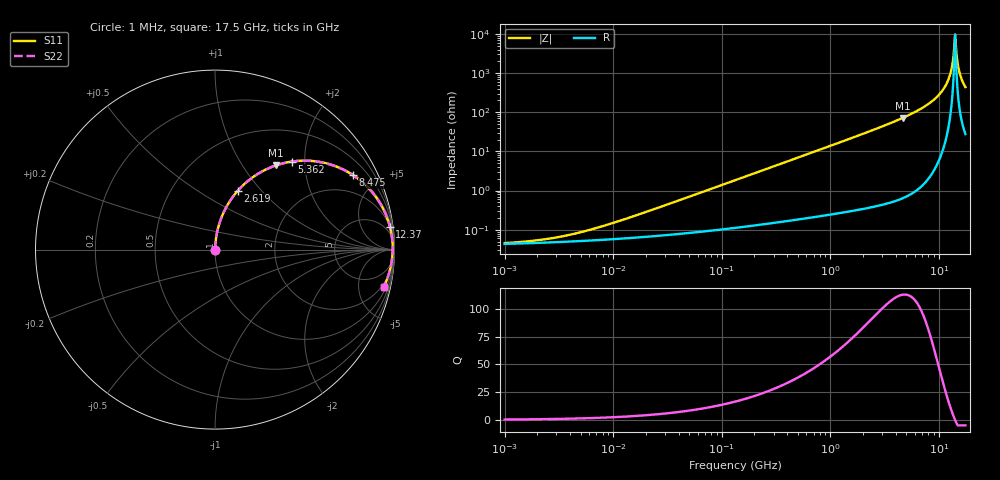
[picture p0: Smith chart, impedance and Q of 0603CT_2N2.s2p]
# MHz  S  MA  R  50
!Freq  MagS11  AngS11  MagS21  AngS21  MagS12  AngS12  MagS22  AngS22
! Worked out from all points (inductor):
!   983 points, 1 MHz to 17.5 GHz, reference 50 ohm
!   read as one part in series: L = 2.2 nH near 13.16 MHz
!   highest Q = 113 at 4.619 GHz (marker M1), where L = 2.47 nH
!   self-resonance near 13.94 GHz
!   S11 on the Smith chart (normalised r, x): 1 MHz: 1.00, +0.00; 2.619 GHz: 1.01, +0.75; 5.362 GHz: 1.02, +1.73; 8.475 GHz: 1.05, +3.68; 12.37 GHz: 2, +15; 17.5 GHz: 1.55, -8.80
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1  0.000456 17.6  0.9996 -0.0  0.9996 -0.0  0.000456 17.6
2.376619  0.000573 34.9  0.9995 -0.0  0.9995 -0.0  0.000573 34.9
5.113347  0.0008749 53.8  0.9995 -0.0  0.9995 -0.0  0.0008749 53.8
26.14632  0.003679 78.8  0.9993 -0.2  0.9993 -0.2  0.003679 78.8
132.3715  0.01831 85.5  0.9987 -1.0  0.9987 -1.0  0.01831 85.5
676.8615  0.0932 83.4  0.9936 -5.3  0.9936 -5.3  0.0932 83.4
2619.429  0.35 68.9  0.9331 -20.5  0.9331 -20.5  0.35 68.9
3461.028  0.4521 62.6  0.8877 -26.9  0.8877 -26.9  0.4521 62.6
4618.755  0.5795 54.1  0.8098 -35.4  0.8098 -35.4  0.5795 54.1
5362.232  0.6523 48.8  0.7521 -40.7  0.7521 -40.7  0.6523 48.8
8474.787  0.8735 28.4  0.475 -60.9  0.475 -60.9  0.8735 28.4
10654.19  0.9537 16.0  0.2761 -72.4  0.2761 -72.4  0.9537 16.0
11536.96  0.9718 11.5  0.1996 -76.2  0.1996 -76.2  0.9718 11.5
12369.18  0.9828 7.5  0.1306 -78.7  0.1306 -78.7  0.9828 7.5
13000.13  0.9876 4.6  0.0807 -78.8  0.0807 -78.8  0.9876 4.6
13663.27  0.9898 1.7  0.03122 -70.0  0.03122 -70.0  0.9898 1.7
14077.28  0.9898 -0.0  0.01022 4.2  0.01022 4.2  0.9898 -0.0
14503.84  0.9889 -1.8  0.03286 69.4  0.03286 69.4  0.9889 -1.8
15092.75  0.9863 -4.1  0.07231 77.0  0.07231 77.0  0.9863 -4.1
15550.08  0.9832 -5.8  0.1022 77.6  0.1022 77.6  0.9832 -5.8
16506.72  0.9743 -9.3  0.1614 76.2  0.1614 76.2  0.9743 -9.3
17500  0.9623 -12.6  0.2182 73.8  0.2182 73.8  0.9623 -12.6
